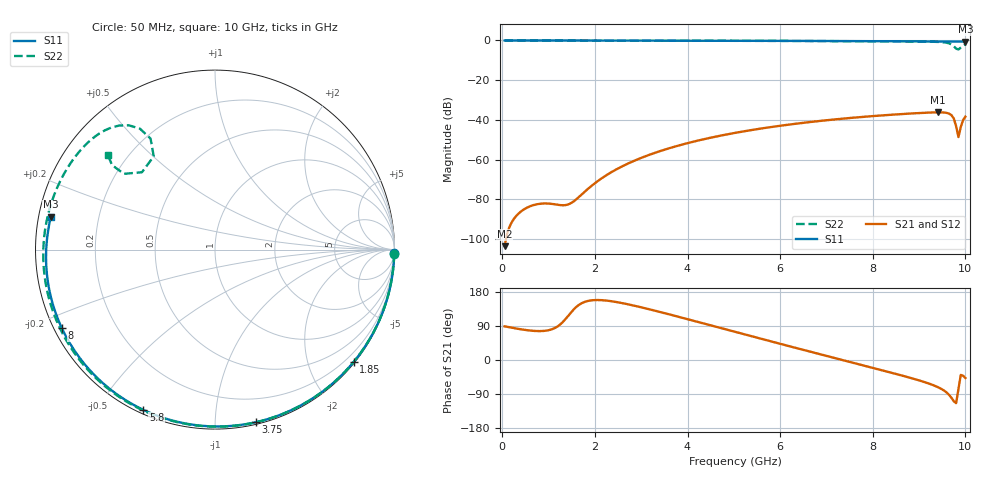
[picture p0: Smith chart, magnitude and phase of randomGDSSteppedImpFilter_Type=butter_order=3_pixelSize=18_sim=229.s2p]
! freq	dB(S11)	phase(S11)	dB(S12)	phase(S12)
!  dB(S21)	phase(S21)	dB(S22)	phase(S22)
!S-par simulation data
#  GHz  S  DB  R 50
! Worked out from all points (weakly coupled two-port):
!   200 points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, 50 MHz to 10 GHz, reference 50 ohm
!   highest |S21| = -36.20 dB at 9.4 GHz (marker M1); lowest = -103.6 dB at 50 MHz (marker M2)
!   lowest |S11| = -0.6 dB at 10 GHz (marker M3), VSWR 28.60, Z = 1.77 + j4.96 ohm
!   |S11| at or under -10 dB: nowhere
!   |S22| runs from -4.5 to 0.0 dB; largest |S21 - S12| = 0
!   S11 on the Smith chart (normalised r, x): 50 MHz: open; 1.85 GHz: 0.03, -2.82; 3.75 GHz: 0.02, -1.26; 5.8 GHz: 0.02, -0.65; 8 GHz: 0.02, -0.24; 10 GHz: 0.04, +0.10
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0.05  -0.01 -1.0  -103.61 88.8  -103.61 88.8  -0.01 -1.3
0.8  -0.02 -17.1  -82.31 76.3  -82.31 76.3  -0.03 -21.2
1.6  -0.04 -33.9  -79.97 140.2  -79.97 140.2  -0.05 -41.9
1.75  -0.05 -37.0  -76.83 151.9  -76.83 151.9  -0.06 -45.7
1.85  -0.05 -39.1  -74.76 155.8  -74.76 155.8  -0.06 -48.2
2.5  -0.07 -52.3  -64.48 152.2  -64.48 152.2  -0.08 -64.3
3.4  -0.09 -70.0  -55.79 126.9  -55.79 126.9  -0.11 -85.6
3.75  -0.10 -76.7  -53.30 115.8  -53.30 115.8  -0.12 -93.5
5.05  -0.15 -100.7  -46.45 73.5  -46.45 73.5  -0.18 -122.0
5.8  -0.19 -114.1  -43.63 49.2  -43.63 49.2  -0.23 -138.0
6.7  -0.25 -129.9  -40.95 20.3  -40.95 20.3  -0.29 -157.0
8  -0.36 -152.9  -38.10 -20.7  -38.10 -20.7  -0.41 174.4
8.35  -0.40 -159.3  -37.50 -31.9  -37.50 -31.9  -0.45 166.1
8.95  -0.47 -170.4  -36.63 -52.0  -36.63 -52.0  -0.54 150.8
9.4  -0.53 -179.1  -36.20 -71.3  -36.20 -71.3  -0.74 136.7
9.7  -0.57 174.9  -37.65 -99.9  -37.65 -99.9  -2.01 121.9
9.75  -0.58 173.8  -39.35 -108.9  -39.35 -108.9  -2.91 120.1
9.8  -0.58 172.8  -43.23 -113.9  -43.23 -113.9  -4.13 123.3
9.85  -0.59 171.8  -48.66 -76.2  -48.66 -76.2  -4.54 133.3
9.9  -0.59 170.8  -43.64 -39.4  -43.64 -39.4  -3.61 140.2
9.95  -0.60 169.7  -40.10 -41.5  -40.10 -41.5  -2.60 140.6
10  -0.61 168.7  -38.40 -47.6  -38.40 -47.6  -1.95 138.5
